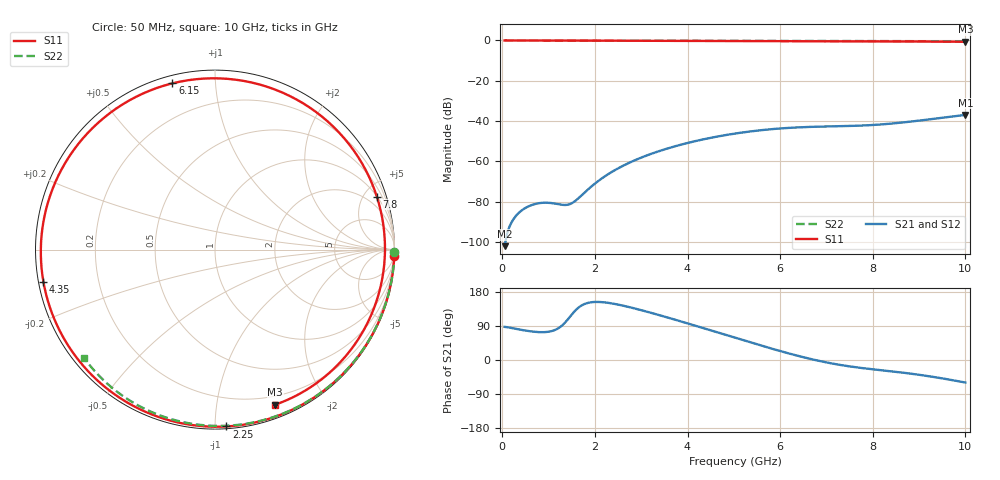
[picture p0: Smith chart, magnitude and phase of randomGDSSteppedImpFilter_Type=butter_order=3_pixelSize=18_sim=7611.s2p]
! freq	dB(S11)	phase(S11)	dB(S12)	phase(S12)
!  dB(S21)	phase(S21)	dB(S22)	phase(S22)
!S-par simulation data
#  GHz  S  DB  R 50
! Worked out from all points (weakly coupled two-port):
!   200 points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, 50 MHz to 10 GHz, reference 50 ohm
!   highest |S21| = -36.91 dB at 10 GHz (marker M1); lowest = -102.0 dB at 50 MHz (marker M2)
!   lowest |S11| = -0.7 dB at 10 GHz (marker M3), VSWR 26.30, Z = 5.94 - j72.7 ohm
!   |S11| at or under -10 dB: nowhere
!   |S22| runs from -0.5 to 0.0 dB; largest |S21 - S12| = 0
!   S11 on the Smith chart (normalised r, x): 50 MHz: 1, -58; 2.25 GHz: 0.01, -1.07; 4.35 GHz: 0.01, -0.09; 6.15 GHz: 0.04, +0.78; 7.8 GHz: 1.03, +6.10; 10 GHz: 0.12, -1.45
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0.05  -0.00 -2.0  -102.00 87.4  -102.00 87.4  -0.00 -0.8
0.75  -0.03 -29.1  -80.88 73.9  -80.88 73.9  -0.01 -12.1
1.55  -0.08 -59.7  -80.01 127.1  -80.01 127.1  -0.03 -24.9
1.75  -0.09 -67.3  -76.01 146.3  -76.01 146.3  -0.04 -28.0
2.25  -0.11 -86.3  -66.83 151.5  -66.83 151.5  -0.05 -35.8
2.8  -0.14 -107.2  -60.03 137.8  -60.03 137.8  -0.06 -44.2
3.4  -0.17 -130.5  -54.77 118.1  -54.77 118.1  -0.07 -53.3
3.9  -0.21 -150.5  -51.42 100.3  -51.42 100.3  -0.08 -60.6
4.35  -0.24 -169.3  -48.99 83.8  -48.99 83.8  -0.10 -67.1
4.7  -0.27 175.3  -47.41 70.9  -47.41 70.9  -0.11 -72.1
5.05  -0.30 159.3  -46.08 57.9  -46.08 57.9  -0.12 -77.0
5.55  -0.34 135.2  -44.59 39.5  -44.59 39.5  -0.14 -83.8
6.15  -0.39 104.3  -43.41 18.5  -43.41 18.5  -0.16 -91.9
6.45  -0.41 88.4  -43.04 8.9  -43.04 8.9  -0.18 -95.9
6.7  -0.42 75.0  -42.83 1.5  -42.83 1.5  -0.19 -99.1
7  -0.43 59.0  -42.65 -6.4  -42.65 -6.4  -0.21 -103.0
7.3  -0.44 43.3  -42.51 -13.1  -42.51 -13.1  -0.23 -106.8
7.8  -0.46 18.1  -42.16 -21.7  -42.16 -21.7  -0.26 -113.2
8.35  -0.48 -7.3  -41.33 -29.2  -41.33 -29.2  -0.31 -120.0
8.75  -0.51 -24.2  -40.41 -34.9  -40.41 -34.9  -0.34 -125.0
9.2  -0.55 -41.6  -39.19 -42.6  -39.19 -42.6  -0.39 -130.5
10  -0.66 -68.8  -36.91 -59.5  -36.91 -59.5  -0.47 -140.4
